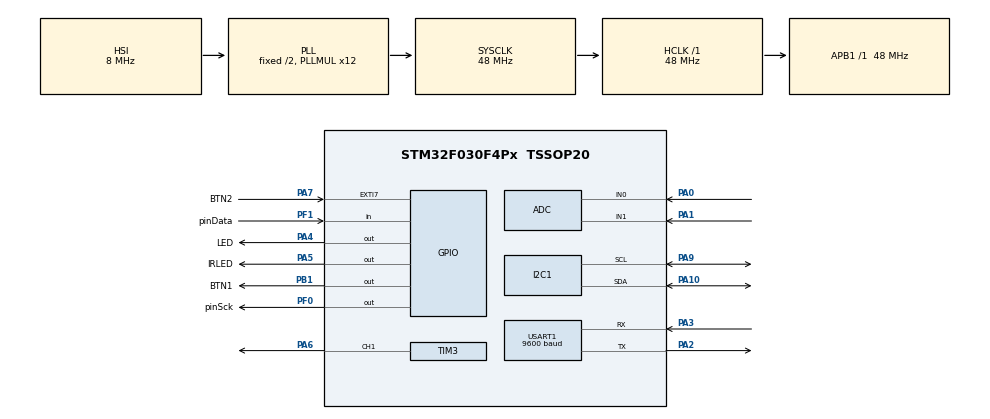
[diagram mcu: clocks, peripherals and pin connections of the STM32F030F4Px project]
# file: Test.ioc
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ADC.ContinuousConvMode=ENABLE
ADC.DMAContinuousRequests=ENABLE
ADC.SamplingTime=ADC_SAMPLETIME_41CYCLES_5
Dma.ADC.0.Direction=DMA_PERIPH_TO_MEMORY
Dma.ADC.0.Instance=DMA1_Channel1
Dma.ADC.0.MemDataAlignment=DMA_MDATAALIGN_HALFWORD
Dma.ADC.0.MemInc=DMA_MINC_ENABLE
Dma.ADC.0.Mode=DMA_CIRCULAR
Dma.ADC.0.PeriphDataAlignment=DMA_PDATAALIGN_HALFWORD
Dma.ADC.0.PeriphInc=DMA_PINC_DISABLE
Dma.ADC.0.Priority=DMA_PRIORITY_LOW
Dma.Request0=ADC
Mcu.Family=STM32F0
Mcu.Name=STM32F030F4Px
Mcu.Package=TSSOP20
NVIC.DMA1_Channel1_IRQn=true\:0\:0\:false\:false\:true\:false\:true
NVIC.EXTI4_15_IRQn=true\:0\:0\:false\:false\:true\:true\:true
PA0.Mode=IN0
PA0.Signal=ADC_IN0
PA1.Mode=IN1
PA1.Signal=ADC_IN1
PA10.Mode=I2C
PA10.Signal=I2C1_SDA
PA13.Mode=Serial_Wire
PA13.Signal=SYS_SWDIO
PA14.Mode=Serial_Wire
PA14.Signal=SYS_SWCLK
PA2.Mode=Asynchronous
PA2.Signal=USART1_TX
PA3.Mode=Asynchronous
PA3.Signal=USART1_RX
PA4.GPIO_Label=LED
PA4.Signal=GPIO_Output
PA5.GPIO_Label=IRLED
PA5.Signal=GPIO_Output
PA6.Signal=S_TIM3_CH1
PA7.GPIO_Label=BTN2
PA7.GPIO_PuPd=GPIO_PULLUP
PA7.Signal=GPXTI7
PA9.Mode=I2C
PA9.Signal=I2C1_SCL
PB1.GPIO_Label=BTN1
PB1.GPIO_PuPd=GPIO_PULLUP
PB1.Signal=GPIO_Output
PF0-OSC_IN.GPIO_Label=pinSck
PF0-OSC_IN.Signal=GPIO_Output
PF1-OSC_OUT.GPIO_Label=pinData
PF1-OSC_OUT.Signal=GPIO_Input
ProjectManager.HeapSize=0x200
ProjectManager.StackSize=0x400
ProjectManager.TargetToolchain=MDK-ARM V5.27
RCC.AHBFreq_Value=48000000
RCC.APB1Freq_Value=48000000
RCC.APB1TimFreq_Value=48000000
RCC.HCLKFreq_Value=48000000
RCC.PLLMUL=RCC_PLL_MUL12
RCC.SYSCLKFreq_VALUE=48000000
RCC.SYSCLKSource=RCC_SYSCLKSOURCE_PLLCLK
SH.S_TIM3_CH1.0=TIM3_CH1,PWM Generation1 CH1
TIM3.Channel-PWM\ Generation1\ CH1=TIM_CHANNEL_1
TIM3.Period=100-1
TIM3.Prescaler=1600-1
USART1.BaudRate=9600
USART1.VirtualMode-Asynchronous=VM_ASYNC
VP_TIM3_VS_ClockSourceINT.Mode=Internal
VP_TIM3_VS_ClockSourceITR.Mode=TriggerSource_ITR3
board=custom

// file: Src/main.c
/* USER CODE BEGIN Header */
/**
  ******************************************************************************
  * @file           : main.c
  * @brief          : Main program body
  ******************************************************************************
  * @attention
  *
  * <h2><center>&copy; Copyright (c) 2020 STMicroelectronics.
  * All rights reserved.</center></h2>
  *
  * This software component is licensed by ST under BSD 3-Clause license,
  * the "License"; You may not use this file except in compliance with the
  * License. You may obtain a copy of the License at:
  *                        opensource.org/licenses/BSD-3-Clause
  *
  ******************************************************************************
  */
/* USER CODE END Header */

#include "main.h"
#include "adc.h"
#include "dma.h"
#include "i2c.h"
#include "tim.h"
#include "usart.h"
#include "gpio.h"

/* USER CODE BEGIN Includes */
#include "stdio.h"
#include "string.h"
#include "hx711.h"
/* USER CODE END Includes */

/* USER CODE BEGIN PD */
uint32_t	data[2];

char yazi1 [32] = " ";
char yazi2 [32] = " ";
/* USER CODE END PD */

/* USER CODE BEGIN PV */
uint16_t adcBuffer[2];
/* USER CODE END PV */

void SystemClock_Config(void);
/* USER CODE BEGIN PFP */
void HAL_ADC_ConvCpltCallback(ADC_HandleTypeDef* hadc)
{
	if(hadc -> Instance == ADC1)
	{
		data[0] = adcBuffer[1];
		data[1] = adcBuffer[0];
	}
}
/* USER CODE END PFP */

/* USER CODE BEGIN 0 */
uint16_t zaman =2 ;
/* USER CODE END 0 */

int main(void)
{

  /* MCU Configuration--------------------------------------------------------*/

  /* Reset of all peripherals, Initializes the Flash interface and the Systick. */
  HAL_Init();

  /* Configure the system clock */
  SystemClock_Config();

  /* Initialize all configured peripherals */
  MX_GPIO_Init();
  MX_DMA_Init();
  MX_USART1_UART_Init();
  MX_ADC_Init();
  MX_I2C1_Init();
  MX_TIM3_Init();
  /* USER CODE BEGIN 2 */
void USART_TX();
HAL_ADC_Start_DMA(&hadc,(uint32_t*)adcBuffer,2);
void EXTI4_15_IRQHandler2();
HAL_TIM_PWM_Start(&htim3,TIM_CHANNEL_1);
  /* USER CODE END 2 */

  /* Infinite loop */
  while (1)
  {

    /* USER CODE BEGIN 3 */
		//USART_TX("Hi\n");
HX711 sensor;
sensor.PD_SCK_PinType=GPIOF;
sensor.PD_SCK_PinNumber=GPIO_PIN_0;
sensor.DOUT_PinType=GPIOF;
sensor.DOUT_PinNumber=GPIO_PIN_1;
sensor.mode=0;
int read = HX711_Read(&sensor);
int netkg = (read-158100)/473.43+160;
char gram[10];
		sprintf(gram,"%d\n",netkg);
	/*  USART_TX(gram);
		USART_TX("gram\n");
		HAL_Delay(500);*/
		sprintf(yazi1,"%d\n",data[0]);
		sprintf(yazi2,"%d\n",data[1]);
	/*	USART_TX(yazi1);
		USART_TX(yazi2);*/
	htim3.Instance->CCR1=5;//PWM deki ON Kismin süresi 5 milisaniyedir.
       for(int i = 0; i<zaman; i++)
{
	USART_TX(yazi1);//ADC1
 USART_TX(yazi2);//ADC2
 USART_TX(gram);//agirlik için
 USART_TX("5\n");
HAL_Delay(1000);
}
    htim3.Instance->CCR1=6;//PWM deki ON Kismin süresi 6 milisaniyedir.
       for(int i = 0; i<zaman; i++)
{

USART_TX(yazi1);
USART_TX(yazi2);
 USART_TX(gram);//agirlik için
 USART_TX("6\n");
HAL_Delay(1000);
}
     htim3.Instance->CCR1=7;//PWM deki ON Kismin süresi 7 milisaniyedir.
        for(int i = 0; i<zaman; i++)
{
  USART_TX(yazi1);
 USART_TX(yazi2);
USART_TX(gram);//agirlik için
USART_TX("7\n");;
HAL_Delay(1000);
}
     htim3.Instance->CCR1=8;//PWM deki ON Kismin süresi 8 milisaniyedir.
        for(int i = 0; i<zaman; i++)
{
USART_TX(yazi1);
USART_TX(yazi2);
USART_TX(gram);//agirlik için
USART_TX("8\n");
HAL_Delay(1000);
}
      htim3.Instance->CCR1=9;//PWM deki ON Kismin süresi 9 milisaniyedir.
        for(int i = 0; i<zaman; i++)
 {
USART_TX(yazi1);
USART_TX(yazi2);
USART_TX(gram);//agirlik için
USART_TX("9\n");
HAL_Delay(1000);
}
        htim3.Instance->CCR1=10;//PWM deki ON Kismin süresi 10 milisaniyedir.
        for(int i = 0; i<zaman; i++)
{
USART_TX(yazi1);
USART_TX(yazi2);
USART_TX(gram);//agirlik için
USART_TX("10\n");
HAL_Delay(1000);
}
//pwm duty si,akim1,akim2,agirlik,*/
  }
  /* USER CODE END 3 */
}

void SystemClock_Config(void)
{
  RCC_OscInitTypeDef RCC_OscInitStruct = {0};
  RCC_ClkInitTypeDef RCC_ClkInitStruct = {0};
  RCC_PeriphCLKInitTypeDef PeriphClkInit = {0};

  /** Initializes the CPU, AHB and APB busses clocks
  */
  RCC_OscInitStruct.OscillatorType = RCC_OSCILLATORTYPE_HSI|RCC_OSCILLATORTYPE_HSI14;
  RCC_OscInitStruct.HSIState = RCC_HSI_ON;
  RCC_OscInitStruct.HSI14State = RCC_HSI14_ON;
  RCC_OscInitStruct.HSICalibrationValue = RCC_HSICALIBRATION_DEFAULT;
  RCC_OscInitStruct.HSI14CalibrationValue = 16;
  RCC_OscInitStruct.PLL.PLLState = RCC_PLL_ON;
  RCC_OscInitStruct.PLL.PLLSource = RCC_PLLSOURCE_HSI;
  RCC_OscInitStruct.PLL.PLLMUL = RCC_PLL_MUL12;
  RCC_OscInitStruct.PLL.PREDIV = RCC_PREDIV_DIV1;
  if (HAL_RCC_OscConfig(&RCC_OscInitStruct) != HAL_OK)
  {
    Error_Handler();
  }
  /** Initializes the CPU, AHB and APB busses clocks
  */
  RCC_ClkInitStruct.ClockType = RCC_CLOCKTYPE_HCLK|RCC_CLOCKTYPE_SYSCLK
                              |RCC_CLOCKTYPE_PCLK1;
  RCC_ClkInitStruct.SYSCLKSource = RCC_SYSCLKSOURCE_PLLCLK;
  RCC_ClkInitStruct.AHBCLKDivider = RCC_SYSCLK_DIV1;
  RCC_ClkInitStruct.APB1CLKDivider = RCC_HCLK_DIV1;

  if (HAL_RCC_ClockConfig(&RCC_ClkInitStruct, FLASH_LATENCY_1) != HAL_OK)
  {
    Error_Handler();
  }
  PeriphClkInit.PeriphClockSelection = RCC_PERIPHCLK_USART1|RCC_PERIPHCLK_I2C1;
  PeriphClkInit.Usart1ClockSelection = RCC_USART1CLKSOURCE_PCLK1;
  PeriphClkInit.I2c1ClockSelection = RCC_I2C1CLKSOURCE_HSI;
  if (HAL_RCCEx_PeriphCLKConfig(&PeriphClkInit) != HAL_OK)
  {
    Error_Handler();
  }
}

/* USER CODE BEGIN 4 */
void EXTI4_15_IRQHandler2(void)
{
  /* USER CODE BEGIN EXTI4_15_IRQn 0 */
HAL_TIM_PWM_Stop_IT(&htim3,TIM_CHANNEL_1);
USART_TX("EMT...\n");
while(1)
  /* USER CODE END EXTI4_15_IRQn 0 */
  HAL_GPIO_EXTI_IRQHandler(GPIO_PIN_7);
  /* USER CODE BEGIN EXTI4_15_IRQn 1 */

  /* USER CODE END EXTI4_15_IRQn 1 */

}
void ToggleLED (void)
{
 HAL_GPIO_WritePin(GPIOA,GPIO_PIN_4,GPIO_PIN_SET);
 HAL_Delay(500);
 HAL_GPIO_WritePin(GPIOA,GPIO_PIN_4,GPIO_PIN_RESET);
 HAL_Delay(500);
}
void USART_TX(uint8_t Veri1[])
{
	HAL_UART_Transmit(&huart1,Veri1,strlen(Veri1),1000);
	HAL_Delay(100);
}
/* USER CODE END 4 */

void Error_Handler(void)
{
}

/************************ (C) COPYRIGHT STMicroelectronics *****END OF FILE****/
